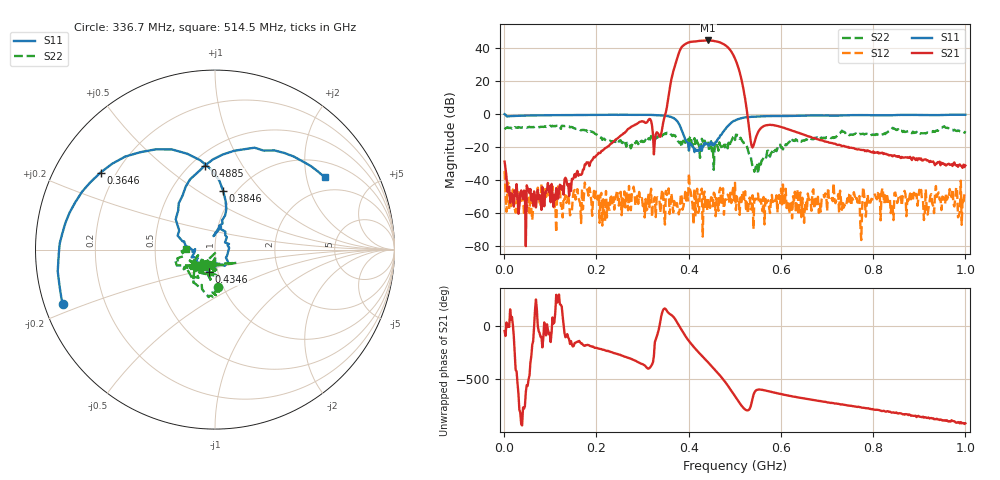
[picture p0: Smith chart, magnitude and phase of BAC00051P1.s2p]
!measured: 2026-10-27T15:12:27
!cal_instance: BBtestOct27
!cal_created: 2026-10-27T14:45
!cal_file: BBtesting.cal
!port1_delay_ps: -58.63
!port2_delay_ps: -59.31
!host: dhcp-10-250-247-203.harvard.edu
! Created with skrf 2.1.0 (http://scikit-rf.org).
# Hz S RI R 50.0
!freq ReS11 ImS11 ReS21 ImS21 ReS12 ImS12 ReS22 ImS22
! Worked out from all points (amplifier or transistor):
!   501 points, 1 MHz to 1 GHz, reference 50 ohm
!   highest |S21| = 44.4 dB at 442.6 MHz (marker M1)
!   |S21| within 3 dB of that: 388.6 MHz to 480.1 MHz (91.45 MHz wide, 21.1 % of centre)
!   unconditionally stable (mu >= 1): start of sweep to 399.8 MHz; 428.6 MHz to 467.3 MHz; 500.6 MHz to end of sweep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
!   at 166.8 MHz: K = 11436.88, MAG = -29.0 dB, |S12| = -66.4 dB
!   at 500.5 MHz: K = 0.96, MSG = 37.7 dB, |S12| = -41.9 dB
!   at 1 GHz: K = 744.71, MAG = -22.6 dB, |S12| = -49.7 dB
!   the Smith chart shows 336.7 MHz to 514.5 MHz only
!   S11 on the Smith chart (normalised r, x): 336.7 MHz: 0.05, -0.17; 364.6 MHz: 0.14, +0.30; 384.6 MHz: 0.88, +0.64; 434.6 MHz: 0.91, -0.23; 488.5 MHz: 0.58, +0.70; 514.5 MHz: 1.48, +2.57
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1000000  -0.3451 0.906  0.0256 -0.0241  -0.0136 0.0121  0.3346 -0.019
1.68832e8  0.5031 -0.7584  -0.0142 -0.00491  -0.00362 0.00375  -0.0203 -0.3218
3.34666e8  -0.8361 -0.3402  0.1905 -0.1485  -0.00197 -0.00194  0.0414 -0.2038
3.36664e8  -0.8496 -0.302  0.203 0.00419  -0.00224 -0.000837  0.0149 -0.2079
3.64636e8  -0.6376 0.4294  -2.906 14.52  -0.00166 0.00129  -0.0738 -0.1965
3.76624e8  -0.1542 0.534  50.25 24.48  0.00109 -0.000716  -0.1178 -0.0896
3.84616e8  0.0462 0.3249  88.03 -54.07  0.00342 0.00141  -0.0936 -0.0312
3.9061e8  0.0564 0.1906  33.27 -119.4  -0.00178 -0.00129  -0.1289 -0.0724
3.96604e8  0.0235 0.1326  -57.25 -126.7  0.0039 0.00137  -0.0658 -0.127
4.08592e8  0.0576 0.0796  -152.9 3.693  -0.00152 -0.000505  -0.0373 -0.103
4.22578e8  0.061 -0.0447  -56.49 150.7  -0.000555 0.00108  -0.0365 -0.1017
4.34566e8  -0.0342 -0.1259  94.11 135.1  0.00432 0.00046  0.0258 -0.1498
4.42558e8  -0.1058 -0.057  158.1 52.82  -0.000621 -0.00253  -0.0897 -0.0958
4.52548e8  -0.1259 -0.0127  143.3 -77.48  0.000837 -0.00131  -0.0602 -0.0777
4.64536e8  -0.1725 0.0465  7.301 -150.2  0.00109 0.00027  -0.0192 -0.0732
4.76524e8  -0.2049 0.2186  -110.9 -62.07  0.000743 -0.000434  -0.00586 -0.1131
4.88512e8  -0.0574 0.467  -67.51 61.47  -0.000405 -0.0019  -0.0404 -0.0946
5.005e8  0.2713 0.5516  23.37 40.8  0.00282 -0.00752  -0.1324 -0.0883
5.14486e8  0.6119 0.4025  9.627 -5.353  -0.0017 0.000832  -0.1628 0.00277
6.68332e8  0.0952 -0.8774  0.1683 0.0804  0.00428 0.000142  0.0382 -0.1674
8.34166e8  -0.5731 -0.6868  0.00156 -0.0541  -0.000262 -0.00245  -0.1863 -0.2278
1e9  -0.8846 -0.2736  -0.0256 0.00806  -0.00321 0.000614  -0.2443 -0.1632
